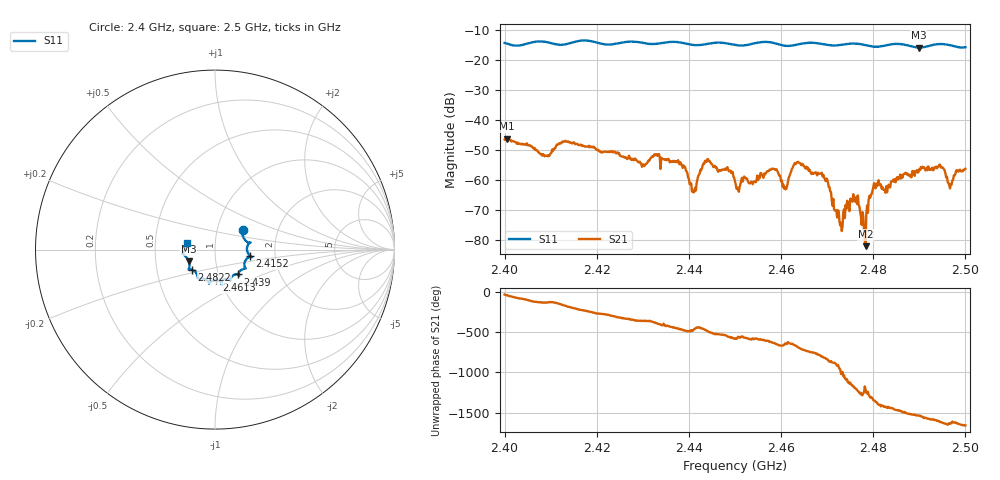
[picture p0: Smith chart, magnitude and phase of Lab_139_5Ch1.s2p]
# Hz S RI R 50
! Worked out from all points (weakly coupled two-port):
!   601 points, 2.4 GHz to 2.5 GHz, reference 50 ohm
!   highest |S21| = -46.28 dB at 2.4005 GHz (marker M1); lowest = -82.0 dB at 2.4783 GHz (marker M2)
!   lowest |S11| = -15.9 dB at 2.4898 GHz (marker M3), VSWR 1.38, Z = 37 - j5.03 ohm
!   |S11| at or under -10 dB: start of sweep to end of sweep
!   S12 and S22 are empty: the file has one direction only
!   S11 on the Smith chart (normalised r, x): 2.4 GHz: 1.33, +0.31; 2.4152 GHz: 1.48, -0.11; 2.439 GHz: 1.24, -0.36; 2.4613 GHz: 0.96, -0.34; 2.4822 GHz: 0.76, -0.17; 2.5 GHz: 0.73, +0.05
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2.4e9  0.1551 0.1117  0.00413 -0.00227  0 0  0 0
2.4005e9  0.154 0.1045  0.00383 -0.00298  0 0  0 0
2.415167e9  0.1955 -0.0363  -0.00384 0.00144  0 0  0 0
2.416667e9  0.2049 -0.0423  -0.00282 0.00256  0 0  0 0
2.433333e9  0.1321 -0.132  0.0022 -0.00153  0 0  0 0
2.439e9  0.1282 -0.1385  -0.00068 -0.00151  0 0  0 0
2.441e9  0.1091 -0.1387  -0.000195 -0.000589  0 0  0 0
2.444e9  0.086 -0.1636  -0.00122 -0.00187  0 0  0 0
2.45e9  0.0687 -0.1638  -0.000729 0.000599  0 0  0 0
2.461333e9  0.00727 -0.1705  0.000152 0.000793  0 0  0 0
2.463333e9  -0.0206 -0.177  0.0013 0.00142  0 0  0 0
2.466667e9  -0.0334 -0.1897  0.00112 -0.000582  0 0  0 0
2.469667e9  -0.0399 -0.1748  -0.000218 -0.000932  0 0  0 0
2.472833e9  -0.0751 -0.1602  -8.78e-05 0.000152  0 0  0 0
2.476167e9  -0.0942 -0.1605  -0.000228 -0.00037  0 0  0 0
2.478333e9  -0.0982 -0.1457  -4.98e-05 -6.15e-05  0 0  0 0
2.479667e9  -0.1046 -0.1309  -0.000316 0.000492  0 0  0 0
2.482167e9  -0.1283 -0.112  0.000634 0.000279  0 0  0 0
2.483333e9  -0.1396 -0.1104  0.000823 0.000143  0 0  0 0
2.489833e9  -0.1459 -0.0662  -0.000144 -0.00134  0 0  0 0
2.496667e9  -0.1748 -0.0138  -0.000688 0.000226  0 0  0 0
2.5e9  -0.1584 0.034  -0.00117 0.000995  0 0  0 0
